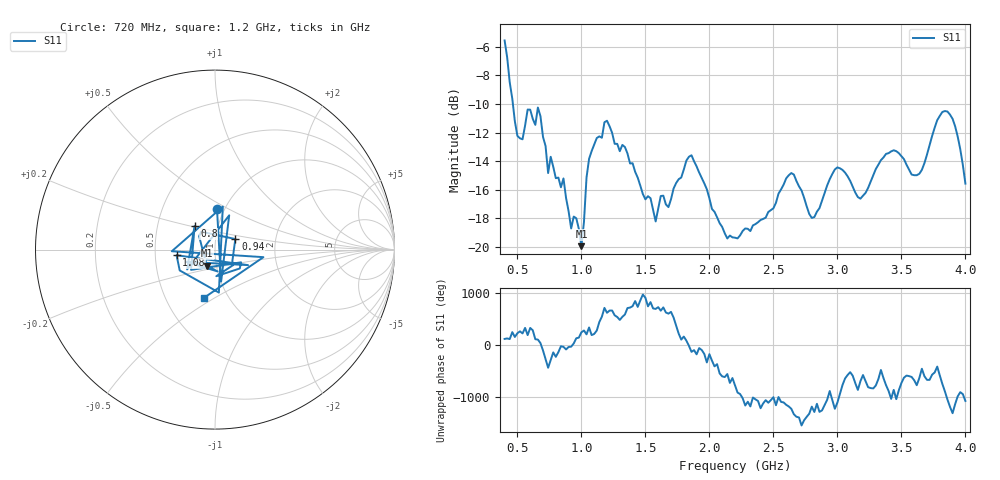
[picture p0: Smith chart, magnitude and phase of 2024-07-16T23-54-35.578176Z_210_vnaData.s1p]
!Created with skrf (http://scikit-rf.org).
# Hz S RI R 50.0
!freq ReS11 ImS11
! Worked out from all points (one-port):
!   181 points, 400 MHz to 4 GHz, reference 50 ohm
!   lowest |S11| = -20.0 dB at 1 GHz (marker M1), VSWR 1.22, Z = 44.9 - j8.12 ohm
!   |S11| at or under -10 dB: 464.8 MHz to end of sweep
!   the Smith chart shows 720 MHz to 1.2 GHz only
!   S11 on the Smith chart (normalised r, x): 720 MHz: 0.92, +0.44; 800 MHz: 0.77, +0.21; 940 MHz: 1.25, +0.15; 1.08 GHz: 0.65, -0.04; 1.2 GHz: 0.77, -0.45
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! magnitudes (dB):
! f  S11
! 400 MHz  -5.6
! 500 MHz  -12.2
! 660 MHz  -10.2
! 720 MHz  -12.9
! 740 MHz  -14.8
! 800 MHz  -15.2
! 860 MHz  -15.2
! 920 MHz  -18.7
! 940 MHz  -17.9
! 1 GHz  -20.0
! 1.04 GHz  -15.1
! 1.08 GHz  -13.3
! 1.2 GHz  -11.2
! 1.3 GHz  -13.3
! 1.58 GHz  -18.2
! 1.76 GHz  -15.3
! 1.86 GHz  -13.6
! 2.2 GHz  -19.4
! 2.66 GHz  -14.9
! 2.8 GHz  -18.0
! 2.98 GHz  -14.6
! 3.1 GHz  -15.4
! 3.18 GHz  -16.6
! 3.44 GHz  -13.2
! 3.56 GHz  -14.6
! 3.64 GHz  -14.9
! 3.86 GHz  -10.5
! 4 GHz  -15.6
